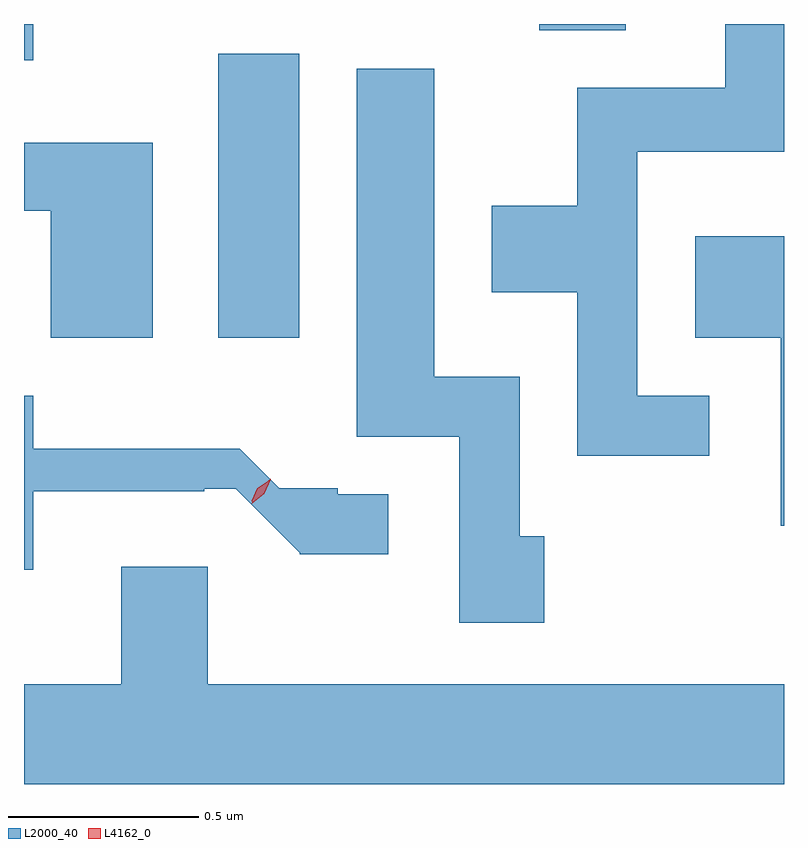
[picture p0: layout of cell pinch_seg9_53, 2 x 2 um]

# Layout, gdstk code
import gdstk
lib = gdstk.Library(unit=1e-6, precision=1e-09)
def R(c, l, rs):  # rectangles x0, y0, x1, y1
    for r in rs: c.add(gdstk.rectangle(r[:2], r[2:], *l))
def P(c, l, *ps):  # polygons
    for p in ps: c.add(gdstk.Polygon(p, *l))
L2000_40 = (2000, 40)
L4162_0 = (4162, 0)

pinch_seg9_53 = lib.new_cell('pinch_seg9_53')
R(pinch_seg9_53, L2000_40, [(631.546,2004.096,631.759,2004.844), (631.035,2004.826,631.059,2004.922), (632.391,2004.906,632.619,2004.922)])
P(pinch_seg9_53, L2000_40, [(632.838,2003.944),(632.649,2003.944),(632.649,2004.586),(633.035,2004.586),(633.035,2004.922),(632.881,2004.922),(632.881,2004.754),(632.491,2004.754),(632.491,2004.444),(632.266,2004.444),(632.266,2004.216),(632.491,2004.216),(632.491,2003.786),(632.838,2003.786)],
  [(632.404,2003.574),(632.339,2003.574),(632.339,2003.994),(632.114,2003.994),(632.114,2004.804),(631.911,2004.804),(631.911,2003.836),(632.181,2003.836),(632.181,2003.346),(632.404,2003.346)],
  [(631.374,2004.609),(631.035,2004.609),(631.035,2004.431),(631.106,2004.431),(631.106,2004.096),(631.374,2004.096)],
  [(633.035,2004.364),(632.801,2004.364),(632.801,2004.096),(633.026,2004.096),(633.026,2003.601),(633.035,2003.601)],
  [(631.059,2003.692),(631.509,2003.692),(631.509,2003.699),(631.592,2003.699),(631.76,2003.531),(631.76,2003.526),(631.993,2003.526),(631.993,2003.684),(631.86,2003.684),(631.86,2003.7),(631.707,2003.7),(631.603,2003.804),(631.059,2003.804),(631.059,2003.944),(631.035,2003.944),(631.035,2003.486),(631.059,2003.486)],
  [(633.035,2003.184),(631.519,2003.184),(631.519,2003.494),(631.291,2003.494),(631.291,2003.184),(631.035,2003.184),(631.035,2002.922),(633.035,2002.922)])
P(pinch_seg9_53, L4162_0, [(631.634,2003.659),(631.634,2003.66),(631.651,2003.698),(631.684,2003.725),(631.684,2003.725),(631.684,2003.724),(631.667,2003.686),(631.634,2003.659)],
  [(631.634,2003.666),(631.634,2003.667),(631.649,2003.7),(631.679,2003.72),(631.68,2003.72),(631.68,2003.72),(631.665,2003.687),(631.635,2003.666)])

lib.write_gds('pinch_seg9_53.gds')
